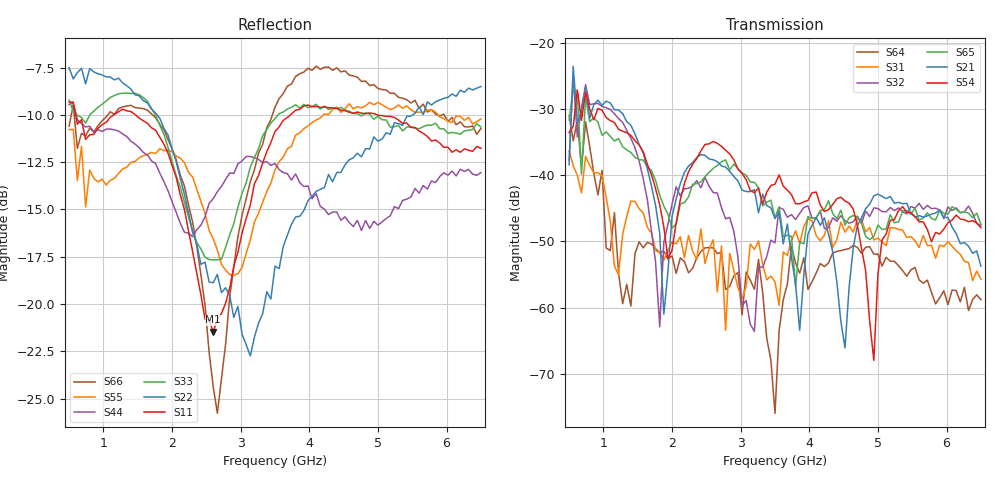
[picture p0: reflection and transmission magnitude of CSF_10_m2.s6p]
!Keysight Technologies,M9804A,MY58100912,A.14.10.03
!Date: Thursday, April 27, 2023 10:28:33
!Correction: S11(C  6-Port  )
!S12(C  6-Port  )
!S13(C  6-Port  )
!S14(C  6-Port  )
!S15(C  6-Port  )
!S16(C  6-Port  )
!S21(C  6-Port  )
!S22(C  6-Port  )
!S23(C  6-Port  )
!S24(C  6-Port  )
!S25(C  6-Port  )
!S26(C  6-Port  )
!S31(C  6-Port  )
!S32(C  6-Port  )
!S33(C  6-Port  )
!S34(C  6-Port  )
!S35(C  6-Port  )
!S36(C  6-Port  )
!S41(C  6-Port  )
!S42(C  6-Port  )
!S43(C  6-Port  )
!S44(C  6-Port  )
!S45(C  6-Port  )
!S46(C  6-Port  )
!S51(C  6-Port  )
!S52(C  6-Port  )
!S53(C  6-Port  )
!S54(C  6-Port  )
!S55(C  6-Port  )
!S56(C  6-Port  )
!S61(C  6-Port  )
!S62(C  6-Port  )
!S63(C  6-Port  )
!S64(C  6-Port  )
!S65(C  6-Port  )
!S66(C  6-Port  )
!S6P File: Measurement: :
# Hz S  RI  R 50
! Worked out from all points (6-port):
!   101 points, 500 MHz to 6.5 GHz, reference 50 ohm
!   strongest paths, dB at 500 MHz, 2 GHz, 3.5 GHz, 5 GHz, 6.5 GHz:
!     S54: -33.5, -51.3, -41.3, -54.9, -47.9
!     S21: -38.4, -46.2, -46.5, -42.8, -53.7
!     S65: -31.6, -48.0, -46.4, -47.5, -47.4
!     S32: -37.7, -44.3, -50.2, -45.0, -47.6
!     S31: -36.3, -50.1, -56.1, -49.5, -55.7
!     S64: -31.0, -52.2, -76.0, -51.9, -58.8
!   lowest |S11| = -21.5 dB at 2.6 GHz (marker M1), VSWR 1.18, Z = 42.5 + j2.35 ohm
!   |S11| at or under -10 dB: 594.6 MHz to 1.15 GHz (555.5 MHz wide, 63.7 % of centre); 1.467 GHz to 3.726 GHz (2.259 GHz wide, 87 % of centre); 4.986 GHz to end of sweep
